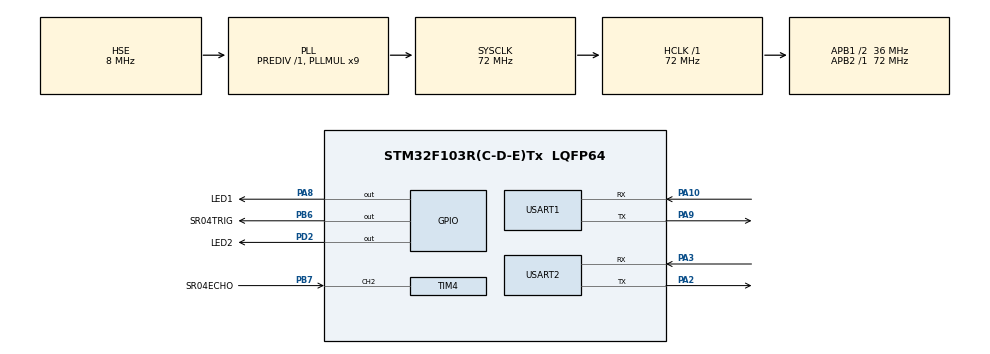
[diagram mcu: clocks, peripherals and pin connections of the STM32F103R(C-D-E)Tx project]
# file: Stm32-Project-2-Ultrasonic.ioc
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Dma.Request0=USART2_RX
Dma.USART2_RX.0.Direction=DMA_PERIPH_TO_MEMORY
Dma.USART2_RX.0.Instance=DMA1_Channel6
Dma.USART2_RX.0.MemDataAlignment=DMA_MDATAALIGN_BYTE
Dma.USART2_RX.0.MemInc=DMA_MINC_ENABLE
Dma.USART2_RX.0.Mode=DMA_NORMAL
Dma.USART2_RX.0.PeriphDataAlignment=DMA_PDATAALIGN_BYTE
Dma.USART2_RX.0.PeriphInc=DMA_PINC_DISABLE
Dma.USART2_RX.0.Priority=DMA_PRIORITY_LOW
Mcu.Family=STM32F1
Mcu.Name=STM32F103R(C-D-E)Tx
Mcu.Package=LQFP64
NVIC.DMA1_Channel6_IRQn=true\:0\:0\:false\:false\:true\:false\:true\:true
NVIC.PriorityGroup=NVIC_PRIORITYGROUP_4
NVIC.TIM4_IRQn=true\:0\:0\:false\:false\:true\:true\:true\:true
NVIC.USART2_IRQn=true\:0\:0\:false\:false\:true\:true\:true\:true
PA10.Mode=Asynchronous
PA10.Signal=USART1_RX
PA13.Mode=Serial_Wire
PA13.Signal=SYS_JTMS-SWDIO
PA14.Mode=Serial_Wire
PA14.Signal=SYS_JTCK-SWCLK
PA2.Mode=Asynchronous
PA2.Signal=USART2_TX
PA3.Mode=Asynchronous
PA3.Signal=USART2_RX
PA8.GPIO_Label=LED1
PA8.GPIO_PuPd=GPIO_PULLUP
PA8.GPIO_Speed=GPIO_SPEED_FREQ_HIGH
PA8.PinState=GPIO_PIN_SET
PA8.Signal=GPIO_Output
PA9.Mode=Asynchronous
PA9.Signal=USART1_TX
PB6.GPIO_Label=SR04TRIG
PB6.GPIO_PuPd=GPIO_PULLDOWN
PB6.GPIO_Speed=GPIO_SPEED_FREQ_HIGH
PB6.PinState=GPIO_PIN_RESET
PB6.Signal=GPIO_Output
PB7.GPIO_Label=SR04ECHO
PB7.GPIO_PuPd=GPIO_PULLDOWN
PB7.Signal=S_TIM4_CH2
PD0-OSC_IN.Mode=HSE-External-Oscillator
PD0-OSC_IN.Signal=RCC_OSC_IN
PD1-OSC_OUT.Mode=HSE-External-Oscillator
PD1-OSC_OUT.Signal=RCC_OSC_OUT
PD2.GPIO_Label=LED2
PD2.GPIO_PuPd=GPIO_PULLUP
PD2.GPIO_Speed=GPIO_SPEED_FREQ_HIGH
PD2.PinState=GPIO_PIN_SET
PD2.Signal=GPIO_Output
ProjectManager.HeapSize=0x200
ProjectManager.StackSize=0x400
ProjectManager.TargetToolchain=MDK-ARM V5.32
RCC.AHBFreq_Value=72000000
RCC.APB1CLKDivider=RCC_HCLK_DIV2
RCC.APB1Freq_Value=36000000
RCC.APB1TimFreq_Value=72000000
RCC.APB2Freq_Value=72000000
RCC.APB2TimFreq_Value=72000000
RCC.HCLKFreq_Value=72000000
RCC.PLLMUL=RCC_PLL_MUL9
RCC.PLLSourceVirtual=RCC_PLLSOURCE_HSE
RCC.SYSCLKFreq_VALUE=72000000
RCC.SYSCLKSource=RCC_SYSCLKSOURCE_PLLCLK
RCC.USBFreq_Value=72000000
SH.S_TIM4_CH2.0=TIM4_CH2,Input_Capture2_from_TI2
TIM4.AutoReloadPreload=TIM_AUTORELOAD_PRELOAD_ENABLE
TIM4.Channel-Input_Capture2_from_TI2=TIM_CHANNEL_2
TIM4.Period=49999
TIM4.Prescaler=71
TIM7.Prescaler=71
USART1.VirtualMode=VM_ASYNC
USART2.VirtualMode=VM_ASYNC
VP_TIM4_VS_ClockSourceINT.Mode=Internal
VP_TIM7_VS_ClockSourceINT.Mode=Enable_Timer
board=custom

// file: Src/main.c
/* USER CODE BEGIN Header */
/**
  ******************************************************************************
  * @file           : main.c
  * @brief          : Main program body
  ******************************************************************************
  * @attention
  *
  * Copyright (c) 2023 STMicroelectronics.
  * All rights reserved.
  *
  * This software is licensed under terms that can be found in the LICENSE file
  * in the root directory of this software component.
  * If no LICENSE file comes with this software, it is provided AS-IS.
  *
  ******************************************************************************
  */
/* USER CODE END Header */
#include "main.h"
#include "dma.h"
#include "tim.h"
#include "usart.h"
#include "gpio.h"

/* USER CODE BEGIN Includes */
#include "stdio.h"
#include "string.h"
#include "cJSON.h"
/* USER CODE END Includes */

/* USER CODE BEGIN PV */
char ss[1000]="";
char IDstr[20]="222154101127";
/* USER CODE END PV */

void SystemClock_Config(void);

/* USER CODE BEGIN 0 */
int fputc(int ch,FILE *f)
{
	HAL_UART_Transmit(&huart1,(uint8_t *) &ch,1,0xfff);
	return ch;
}
/*{
	"Id":	"222154101127",
	"Devices":	{
	"distance":	""
	}
}*/

int buildJsonData(char *ss)//构建发布数据格式//
{
	char *cjson_print_buf;
	int len=0;
	cJSON *reported_obj;
	cJSON *device_obj;

	reported_obj=cJSON_CreateObject();
	device_obj=cJSON_CreateObject();

	cJSON_AddStringToObject(device_obj,"ID",IDstr);
	cJSON_AddNumberToObject(reported_obj,"Distance",distance);
	cJSON_AddItemToObject(device_obj,"Devices",reported_obj);

	cjson_print_buf=cJSON_Print(device_obj);
	if(cjson_print_buf!=NULL)
	{
		len=snprintf(ss,2000,"%s",cjson_print_buf);
		cJSON_free(cjson_print_buf);
	}
	cJSON_Delete(device_obj);
	return len;
}

int AnalysisJsonData(char *ss)//解析数据//
{
	int ret=0;
	cJSON *receive_obj;//接收整体数据
	cJSON *device_obj;//接收主体项
	cJSON *item_obj;//接收子项
	char *str;
	receive_obj=cJSON_Parse((char *)ss);//转化为cjson格式//
	if(receive_obj==NULL)
	{
		return ret;
	}
	device_obj=cJSON_GetObjectItem(receive_obj,"ID");//获取ID这一项//
	if(strcmp(device_obj->valuestring,IDstr))//比较ID,不是则返回//
	{
		ret=1;
		return ret;
	}
	device_obj=cJSON_GetObjectItem(receive_obj,"Devices");//获取Devices这一项
	item_obj=device_obj->child;//指向Devices中的子项//

	while(item_obj)//分别比较Devices中的子项:LED/BEEP/MOTOR
	{
		str=item_obj->string;//获取子项中字符串//
		if(!strcmp(str,"LED1"))//判断是否为LED1
		{
			if(strcmp(item_obj->valuestring,"ON")==0)
			{
				HAL_GPIO_WritePin(LED1_GPIO_Port,LED1_Pin,GPIO_PIN_RESET);
				printf("LED1 ON\r\n");
				ret=2;
			}
			else if(strcmp(item_obj->valuestring,"OFF")==0)
			{
				HAL_GPIO_WritePin(LED1_GPIO_Port,LED1_Pin,GPIO_PIN_SET);
				printf("LED1 OFF\r\n");
				ret=3;
			}
		}
		item_obj=item_obj->next;//获取下一个子项
	}
	cJSON_Delete(receive_obj);//释放数据
	return ret;
}
/* USER CODE END 0 */

int main(void)
{

  /* MCU Configuration--------------------------------------------------------*/

  /* Reset of all peripherals, Initializes the Flash interface and the Systick. */
  HAL_Init();

  /* Configure the system clock */
  SystemClock_Config();

  /* Initialize all configured peripherals */
  MX_GPIO_Init();
  MX_DMA_Init();
  MX_TIM7_Init();
  MX_USART1_UART_Init();
  MX_TIM4_Init();
  MX_USART2_UART_Init();
  /* USER CODE BEGIN 2 */
	HAL_TIM_Base_Start_IT(&htim4);			  /*开启定时器4溢出中断*/
	HAL_TIM_IC_Start_IT(&htim4,TIM_CHANNEL_2);/*开启定时器4通道4输入捕获中断*/
	HAL_UARTEx_ReceiveToIdle_DMA(&huart2,Uart2_rx_buffer,BUF_SIZE);//&huart2
  /* USER CODE END 2 */

  /* Infinite loop */
  /* USER CODE BEGIN WHILE */
  while (1)
  {
		HAL_Delay(500);
		HAL_GPIO_WritePin(SR04TRIG_GPIO_Port, SR04TRIG_Pin, GPIO_PIN_SET);
		delay_us(15);
		HAL_GPIO_WritePin(SR04TRIG_GPIO_Port, SR04TRIG_Pin, GPIO_PIN_RESET);

		buildJsonData(ss);
		HAL_UART_Transmit(&huart2,(uint8_t *)ss,strlen(ss),0xffff);	//将接收到的数据再发回上位机
		HAL_UART_Transmit(&huart1,(uint8_t *)ss,strlen(ss),0xffff);
		memset(ss,0,1000);//清空数据
		HAL_Delay(2000);
    /* USER CODE END WHILE */

  }
}

void SystemClock_Config(void)
{
  RCC_OscInitTypeDef RCC_OscInitStruct = {0};
  RCC_ClkInitTypeDef RCC_ClkInitStruct = {0};

  /** Initializes the RCC Oscillators according to the specified parameters
  * in the RCC_OscInitTypeDef structure.
  */
  RCC_OscInitStruct.OscillatorType = RCC_OSCILLATORTYPE_HSE;
  RCC_OscInitStruct.HSEState = RCC_HSE_ON;
  RCC_OscInitStruct.HSEPredivValue = RCC_HSE_PREDIV_DIV1;
  RCC_OscInitStruct.HSIState = RCC_HSI_ON;
  RCC_OscInitStruct.PLL.PLLState = RCC_PLL_ON;
  RCC_OscInitStruct.PLL.PLLSource = RCC_PLLSOURCE_HSE;
  RCC_OscInitStruct.PLL.PLLMUL = RCC_PLL_MUL9;
  if (HAL_RCC_OscConfig(&RCC_OscInitStruct) != HAL_OK)
  {
    Error_Handler();
  }

  /** Initializes the CPU, AHB and APB buses clocks
  */
  RCC_ClkInitStruct.ClockType = RCC_CLOCKTYPE_HCLK|RCC_CLOCKTYPE_SYSCLK
                              |RCC_CLOCKTYPE_PCLK1|RCC_CLOCKTYPE_PCLK2;
  RCC_ClkInitStruct.SYSCLKSource = RCC_SYSCLKSOURCE_PLLCLK;
  RCC_ClkInitStruct.AHBCLKDivider = RCC_SYSCLK_DIV1;
  RCC_ClkInitStruct.APB1CLKDivider = RCC_HCLK_DIV2;
  RCC_ClkInitStruct.APB2CLKDivider = RCC_HCLK_DIV1;

  if (HAL_RCC_ClockConfig(&RCC_ClkInitStruct, FLASH_LATENCY_2) != HAL_OK)
  {
    Error_Handler();
  }
}

void Error_Handler(void)
{
  __disable_irq();
  while (1)
  {
  }
}
